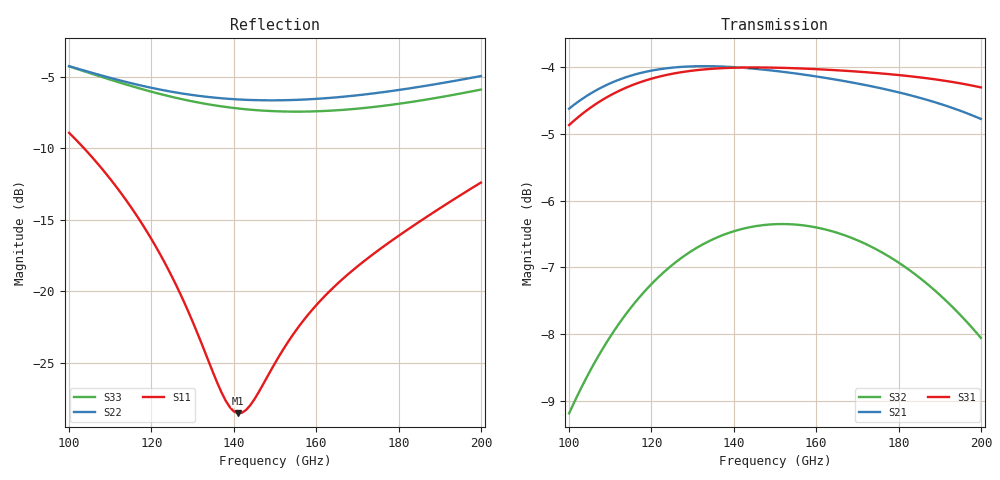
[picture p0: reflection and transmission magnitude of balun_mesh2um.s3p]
! Created with skrf 2.1.0 (http://scikit-rf.org).
# GHz S DB R 50.0
! Port[1] = P1
! Port[2] = P2
! Port[3] = P3
!freq dBS11 angS11 dBS12 angS12 dBS13 angS13
! dBS21 angS21 dBS22 angS22 dBS23 angS23
! dBS31 angS31 dBS32 angS32 dBS33 angS33
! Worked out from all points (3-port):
!   101 points, 100 GHz to 200 GHz, reference 50 ohm
!   strongest paths, dB at 100 GHz, 125 GHz, 150 GHz, 175 GHz, 200 GHz:
!     S31: -4.9, -4.1, -4.0, -4.1, -4.3
!     S21: -4.6, -4.0, -4.1, -4.3, -4.8
!     S32: -9.2, -7.0, -6.4, -6.7, -8.1
!   lowest |S11| = -28.5 dB at 141 GHz (marker M1), VSWR 1.08, Z = 46.5 + j0.857 ohm
!   |S11| at or under -10 dB: 103.6 GHz to end of sweep
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100  -8.93 130.0  -4.63 -12.8  -4.87 163.2
     -4.63 -12.8  -4.28 60.1  -9.18 90.3
     -4.87 163.2  -9.18 90.3  -4.30 49.5
120  -16.36 111.4  -4.06 -43.3  -4.18 130.8
     -4.06 -43.3  -5.79 42.9  -7.25 60.0
     -4.18 130.8  -7.25 60.0  -6.06 29.2
128  -20.81 113.0  -4.00 -54.4  -4.07 119.0
     -4.00 -54.4  -6.21 37.0  -6.83 48.8
     -4.07 119.0  -6.83 48.8  -6.62 22.4
137  -27.06 138.4  -4.00 -66.3  -4.02 106.3
     -4.00 -66.3  -6.52 30.7  -6.52 36.7
     -4.02 106.3  -6.52 36.7  -7.09 15.3
141  -28.53 165.8  -4.01 -71.4  -4.01 100.8
     -4.01 -71.4  -6.60 27.9  -6.44 31.6
     -4.01 100.8  -6.44 31.6  -7.23 12.3
144  -27.96 -173.6  -4.02 -75.1  -4.01 96.8
     -4.02 -75.1  -6.64 25.8  -6.40 27.7
     -4.01 96.8  -6.40 27.7  -7.32 10.0
150  -25.02 -149.7  -4.06 -82.5  -4.01 89.0
     -4.06 -82.5  -6.66 21.5  -6.35 20.2
     -4.01 89.0  -6.35 20.2  -7.42 5.5
167  -19.00 -134.8  -4.22 -102.9  -4.06 67.3
     -4.22 -102.9  -6.40 8.5  -6.52 -0.3
     -4.06 67.3  -6.52 -0.3  -7.32 -7.5
185  -15.15 -134.4  -4.46 -124.3  -4.16 44.8
     -4.46 -124.3  -5.72 -7.0  -7.15 -21.5
     -4.16 44.8  -7.15 -21.5  -6.69 -22.4
200  -12.41 -139.2  -4.78 -142.5  -4.31 25.7
     -4.78 -142.5  -4.97 -21.2  -8.05 -39.1
     -4.31 25.7  -8.05 -39.1  -5.91 -36.1
